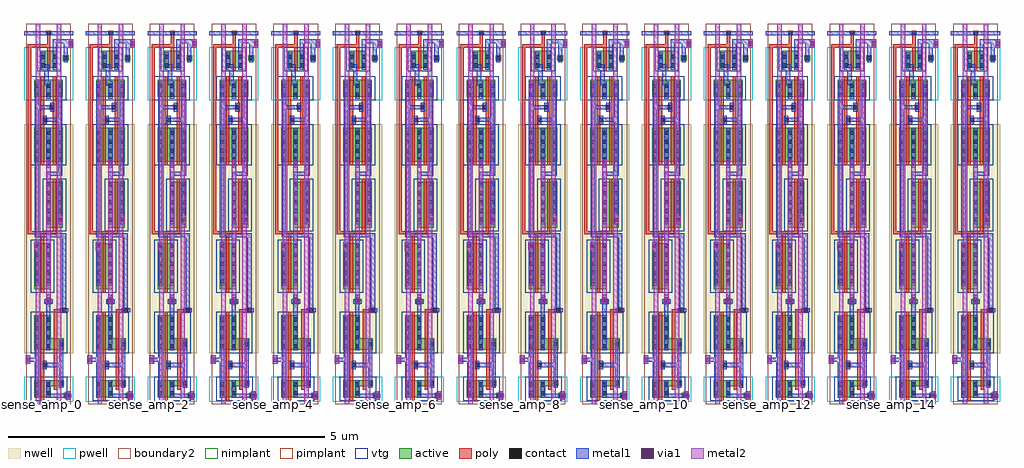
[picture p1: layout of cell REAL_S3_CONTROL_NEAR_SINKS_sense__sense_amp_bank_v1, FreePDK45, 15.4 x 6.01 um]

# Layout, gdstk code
import gdstk
lib = gdstk.Library(unit=1e-6, precision=1e-09)
def R(c, l, rs):  # rectangles x0, y0, x1, y1
    for r in rs: c.add(gdstk.rectangle(r[:2], r[2:], *l))
def A(c, l, x, y, w, h, nx, ny, dx, dy):  # array of equal rectangles
    R(c, l, [(x+i*dx, y+j*dy, x+i*dx+w, y+j*dy+h) for i in range(nx) for j in range(ny)])
def P(c, l, *ps):  # polygons
    for p in ps: c.add(gdstk.Polygon(p, *l))
active = (1, 0)
pwell = (2, 0)
nwell = (3, 0)
nimplant = (4, 0)
pimplant = (5, 0)
vtg = (6, 0)
poly = (9, 0)
contact = (10, 0)
metal1 = (11, 0)
via1 = (12, 0)
metal2 = (13, 0)
boundary2 = (239, 0)

real_s3_control_near_sin = lib.new_cell('REAL_S3_CONTROL_NEAR_SINKS_sense__sense_amp_unit__0__sense_amp')
R(real_s3_control_near_sin, active, [(0.595,0.095,0.685,0.185), (0.307,1.58,0.397,1.67), (0.127,1.82,0.387,2.54), (0.127,1.82,0.202,2.54), (0.127,1.82,0.202,2.54), (0.312,1.82,0.387,2.54), (0.312,1.82,0.387,2.54), (0.127,1.905,0.202,2.54), (0.312,1.905,0.387,2.54), (0.317,2.79,0.577,3.51), (0.317,2.79,0.392,3.51), (0.317,2.79,0.392,3.51), (0.502,2.79,0.577,3.51), (0.502,2.79,0.577,3.51), (0.317,2.875,0.392,3.51), (0.502,2.875,0.577,3.51), (0.127,3.827,0.202,4.322), (0.127,3.827,0.387,4.367), (0.127,3.827,0.202,4.367), (0.127,3.827,0.202,4.367), (0.312,3.827,0.387,4.322), (0.312,3.827,0.387,4.367), (0.312,3.827,0.387,4.367), (0.317,3.827,0.392,4.322), (0.317,3.827,0.577,4.367), (0.317,3.827,0.392,4.367), (0.317,3.827,0.392,4.367), (0.502,3.827,0.577,4.322), (0.502,3.827,0.577,4.367), (0.502,3.827,0.577,4.367), (0.127,4.852,0.202,5.067), (0.127,4.852,0.387,5.122), (0.127,4.852,0.202,5.122), (0.127,4.852,0.202,5.122), (0.312,4.852,0.387,5.067), (0.312,4.852,0.387,5.122), (0.312,4.852,0.387,5.122), (0.317,4.852,0.392,5.067), (0.317,4.852,0.577,5.122), (0.317,4.852,0.392,5.122), (0.317,4.852,0.392,5.122), (0.502,4.852,0.577,5.067), (0.502,4.852,0.577,5.122), (0.502,4.852,0.577,5.122), (0.227,5.31,0.302,5.525), (0.227,5.31,0.487,5.58), (0.227,5.31,0.302,5.58), (0.227,5.31,0.302,5.58), (0.412,5.31,0.487,5.525), (0.412,5.31,0.487,5.58), (0.412,5.31,0.487,5.58), (0.58,5.42,0.67,5.51)])
P(real_s3_control_near_sin, active, [(0.127,0.11),(0.127,0.38),(0.592,0.38),(0.592,0.29),(0.387,0.29),(0.387,0.11)],
  [(0.127,0.865),(0.127,1.405),(0.387,1.405),(0.387,1.045),(0.592,1.045),(0.592,0.865)])
R(real_s3_control_near_sin, pwell, [(-0.035,0.055,0.74,0.435), (-0.035,4.797,0.74,5.635), (0.072,4.797,0.442,5.177), (0.262,4.797,0.632,5.177), (0.172,5.255,0.542,5.635), (0.525,5.365,0.725,5.565)])
P(real_s3_control_near_sin, pwell, [(-0.035,0.04),(-0.035,0.055),(0.595,0.055),(0.595,0.095),(0.685,0.095),(0.685,0.055),(0.74,0.055),(0.74,0.04)])
R(real_s3_control_near_sin, nwell, [(-0.035,0.81,0.74,4.422), (0.072,1.765,0.442,2.595), (0.262,2.735,0.632,3.565), (0.072,3.772,0.442,4.422), (0.262,3.772,0.632,4.422)])
R(real_s3_control_near_sin, nimplant, [(0.307,1.58,0.397,1.67), (0.127,4.852,0.387,5.122), (0.317,4.852,0.577,5.122), (0.227,5.31,0.487,5.58)])
P(real_s3_control_near_sin, nimplant, [(0.127,0.11),(0.127,0.38),(0.592,0.38),(0.592,0.29),(0.387,0.29),(0.387,0.11)])
R(real_s3_control_near_sin, pimplant, [(0.595,0.095,0.685,0.185), (0.127,1.82,0.387,2.54), (0.317,2.79,0.577,3.51), (0.127,3.827,0.387,4.367), (0.317,3.827,0.577,4.367), (0.58,5.42,0.67,5.51)])
P(real_s3_control_near_sin, pimplant, [(0.127,0.865),(0.127,1.405),(0.387,1.405),(0.387,1.045),(0.592,1.045),(0.592,0.865)])
R(real_s3_control_near_sin, vtg, [(0.072,0.055,0.647,0.435), (0.072,0.81,0.645,1.46), (0.072,1.765,0.442,2.595), (0.262,2.735,0.632,3.565), (0.072,3.772,0.442,4.422), (0.262,3.772,0.632,4.422), (0.072,4.797,0.442,5.177), (0.262,4.797,0.632,5.177), (0.172,5.255,0.542,5.635)])
R(real_s3_control_near_sin, poly, [(0.232,0.055,0.282,1.46), (0.257,0.585,0.332,0.66), (0.232,1.765,0.282,1.82), (0.232,1.765,0.282,2.595), (0.232,2.54,0.282,2.595), (0.232,2.595,0.282,2.685), (0.027,2.685,0.472,2.735), (0.027,2.735,0.077,5.635), (0.422,2.735,0.472,2.79), (0.422,2.735,0.472,3.565), (0.422,3.51,0.472,3.565), (0.232,3.772,0.282,3.827), (0.232,3.772,0.282,4.422), (0.422,3.772,0.472,3.827), (0.422,3.772,0.472,4.422), (0.232,4.04,0.282,4.797), (0.422,4.04,0.472,4.797), (0.232,4.367,0.282,4.422), (0.422,4.367,0.472,4.422), (0.257,4.452,0.332,4.527), (0.372,4.652,0.447,4.727), (0.232,4.797,0.282,4.852), (0.232,4.797,0.282,5.177), (0.422,4.797,0.472,4.852), (0.422,4.797,0.472,5.177), (0.232,5.122,0.282,5.177), (0.422,5.122,0.472,5.177), (0.332,5.255,0.382,5.31), (0.332,5.255,0.382,5.635), (0.332,5.58,0.382,5.635), (0.027,5.635,0.382,5.685), (0.332,5.685,0.382,5.89), (0.32,5.822,0.395,5.897)])
P(real_s3_control_near_sin, poly, [(0.437,0.235),(0.437,1.505),(0.56,1.505),(0.56,1.525),(0.635,1.525),(0.635,1.45),(0.487,1.45),(0.487,0.235)])
A(real_s3_control_near_sin, contact, 0.132, 0.887, 0.065, 0.065, 1, 4, 0, 0.14)
A(real_s3_control_near_sin, contact, 0.317, 0.887, 0.065, 0.065, 1, 4, 0, 0.14)
A(real_s3_control_near_sin, contact, 0.132, 1.91, 0.065, 0.065, 1, 5, 0, 0.14)
A(real_s3_control_near_sin, contact, 0.317, 1.91, 0.065, 0.065, 1, 5, 0, 0.14)
A(real_s3_control_near_sin, contact, 0.322, 2.88, 0.065, 0.065, 1, 5, 0, 0.14)
A(real_s3_control_near_sin, contact, 0.507, 2.88, 0.065, 0.065, 1, 5, 0, 0.14)
A(real_s3_control_near_sin, contact, 0.132, 3.832, 0.065, 0.065, 1, 4, 0, 0.14)
A(real_s3_control_near_sin, contact, 0.322, 3.832, 0.065, 0.065, 1, 4, 0, 0.14)
A(real_s3_control_near_sin, contact, 0.507, 3.832, 0.065, 0.065, 1, 4, 0, 0.14)
R(real_s3_control_near_sin, contact, [(0.61,0.107,0.675,0.172), (0.132,0.142,0.197,0.207), (0.317,0.142,0.382,0.207), (0.132,0.282,0.197,0.347), (0.317,0.282,0.382,0.347), (0.522,0.3,0.587,0.365), (0.262,0.59,0.327,0.655), (0.522,0.92,0.587,0.985), (0.565,1.455,0.63,1.52), (0.32,1.592,0.385,1.657), (0.262,4.457,0.327,4.522), (0.377,4.657,0.442,4.722), (0.132,4.857,0.197,4.922), (0.322,4.857,0.387,4.922), (0.507,4.857,0.572,4.922), (0.132,4.997,0.197,5.062), (0.322,4.997,0.387,5.062), (0.507,4.997,0.572,5.062), (0.232,5.315,0.297,5.38), (0.417,5.315,0.482,5.38), (0.592,5.432,0.657,5.497), (0.232,5.455,0.297,5.52), (0.417,5.455,0.482,5.52), (0.325,5.827,0.39,5.892)])
R(real_s3_control_near_sin, metal1, [(0.132,0.107,0.197,1.407), (0.317,0.107,0.382,0.382), (0.382,0.107,0.567,0.172), (0.522,0.265,0.587,0.3), (0.262,0.555,0.327,0.69), (-0.002,0.64,0.062,0.775), (-0.007,0.67,0.067,0.745), (0.067,0.675,0.132,0.74), (0.317,0.852,0.382,0.887), (0.317,0.887,0.382,1.657), (0.522,0.985,0.587,1.02), (0.53,1.455,0.665,1.52), (0.565,1.455,0.63,2.7), (0.285,1.592,0.42,1.657), (0.32,1.592,0.385,1.727), (0.132,1.875,0.197,2.57), (0.317,1.875,0.382,2.57), (0.127,2.435,0.192,2.57), (0.32,2.502,0.385,2.7), (0.132,2.635,0.63,2.7), (0.132,2.7,0.197,3.797), (0.322,2.845,0.387,3.54), (0.507,2.845,0.572,3.54), (0.51,2.845,0.575,2.98), (0.322,3.475,0.387,3.67), (0.322,3.605,0.572,3.67), (0.507,3.605,0.572,3.8), (0.32,3.735,0.385,3.87), (0.132,3.797,0.197,4.352), (0.317,3.797,0.382,4.352), (0.322,3.797,0.387,4.352), (0.507,3.797,0.572,4.352), (0.132,3.96,0.197,4.827), (0.507,3.96,0.572,4.822), (0.262,4.422,0.327,4.557), (0.282,4.457,0.572,4.522), (0.377,4.622,0.442,4.757), (0.132,4.657,0.422,4.722), (0.132,4.822,0.197,5.097), (0.317,4.822,0.382,5.097), (0.322,4.822,0.387,5.097), (0.507,4.822,0.572,5.097), (0.282,5.04,0.352,5.367), (0.232,5.28,0.297,5.555), (0.417,5.28,0.482,5.555), (0.592,5.397,0.657,5.532), (0.592,5.532,0.657,5.762), (0.417,5.545,0.482,5.697), (0.657,5.627,0.672,5.697), (0.672,5.627,0.737,5.762), (0.417,5.697,0.74,5.762), (-0.035,5.827,0.74,5.892), (0.23,5.827,0.295,5.892), (0.29,5.827,0.425,5.892)])
P(real_s3_control_near_sin, metal1, [(0.522,0.3),(0.522,0.59),(0.262,0.59),(0.262,0.655),(0.522,0.655),(0.522,0.985),(0.587,0.985),(0.587,0.3)],
  [(0.632,0.072),(0.632,0.107),(0.567,0.107),(0.567,0.172),(0.632,0.172),(0.632,0.207),(0.697,0.207),(0.697,0.172),(0.71,0.172),(0.71,0.107),(0.697,0.107),(0.697,0.072)],
  [(0,1.452),(0,1.452),(0,1.452),(0,1.452)])
R(real_s3_control_near_sin, via1, [(0.632,0.107,0.697,0.172), (-0.002,0.675,0.062,0.74), (0.32,1.627,0.385,1.692), (0.127,2.47,0.192,2.535), (0.51,2.88,0.575,2.945), (0.32,3.77,0.385,3.835), (0.672,5.662,0.737,5.727)])
R(real_s3_control_near_sin, metal2, [(0.15,0,0.22,6.01), (0.485,0,0.555,6.01), (0.627,0.072,0.702,0.207), (0.627,0.102,0.702,0.177), (-0.01,0.64,0.067,0.775), (-0.007,0.67,0.067,0.745), (0.317,1.592,0.387,1.727), (0.317,1.725,0.387,3.735), (0.125,2.435,0.195,2.57), (0.507,2.845,0.577,2.98), (0.317,3.735,0.387,3.87), (0.67,5.627,0.74,5.762)])
R(real_s3_control_near_sin, boundary2, [(0,0,0.705,6.01)])
real_s3_control_near_sin.add(gdstk.Label('en', (0.258,5.86), layer=11, texttype=0))
real_s3_control_near_sin.add(gdstk.Label('dout', (0.028,0.692), layer=13, texttype=0))
real_s3_control_near_sin.add(gdstk.Label('gnd', (0.655,0.123), layer=13, texttype=0))
real_s3_control_near_sin.add(gdstk.Label('bl', (0.19,0.005), layer=13, texttype=0))
real_s3_control_near_sin.add(gdstk.Label('br', (0.52,0.006), layer=13, texttype=0))
real_s3_control_near_sin.add(gdstk.Label('vdd', (0.352,3.8), layer=13, texttype=0))
real_s3_control_near_sin.add(gdstk.Label('gnd', (0.702,5.735), layer=13, texttype=0))

c_real_s3_control_near_sin = lib.new_cell('REAL_S3_CONTROL_NEAR_SINKS_sense__sense_amp_bank_v1')
c_real_s3_control_near_sin.add(gdstk.Reference(real_s3_control_near_sin, (0.035,0)))
c_real_s3_control_near_sin.add(gdstk.Reference(real_s3_control_near_sin, (1.01,0)))
c_real_s3_control_near_sin.add(gdstk.Reference(real_s3_control_near_sin, (1.985,0)))
c_real_s3_control_near_sin.add(gdstk.Reference(real_s3_control_near_sin, (2.96,0)))
c_real_s3_control_near_sin.add(gdstk.Reference(real_s3_control_near_sin, (3.935,0)))
c_real_s3_control_near_sin.add(gdstk.Reference(real_s3_control_near_sin, (4.91,0)))
c_real_s3_control_near_sin.add(gdstk.Reference(real_s3_control_near_sin, (5.885,0)))
c_real_s3_control_near_sin.add(gdstk.Reference(real_s3_control_near_sin, (6.86,0)))
c_real_s3_control_near_sin.add(gdstk.Reference(real_s3_control_near_sin, (7.835,0)))
c_real_s3_control_near_sin.add(gdstk.Reference(real_s3_control_near_sin, (8.81,0)))
c_real_s3_control_near_sin.add(gdstk.Reference(real_s3_control_near_sin, (9.785,0)))
c_real_s3_control_near_sin.add(gdstk.Reference(real_s3_control_near_sin, (10.76,0)))
c_real_s3_control_near_sin.add(gdstk.Reference(real_s3_control_near_sin, (11.735,0)))
c_real_s3_control_near_sin.add(gdstk.Reference(real_s3_control_near_sin, (12.71,0)))
c_real_s3_control_near_sin.add(gdstk.Reference(real_s3_control_near_sin, (13.685,0)))
c_real_s3_control_near_sin.add(gdstk.Reference(real_s3_control_near_sin, (14.66,0)))
c_real_s3_control_near_sin.add(gdstk.Label('sense_amp_0', (0.035,0), layer=11, texttype=2))
c_real_s3_control_near_sin.add(gdstk.Label('sense_amp_1', (1.01,0), layer=11, texttype=2))
c_real_s3_control_near_sin.add(gdstk.Label('sense_amp_2', (1.985,0), layer=11, texttype=2))
c_real_s3_control_near_sin.add(gdstk.Label('sense_amp_3', (2.96,0), layer=11, texttype=2))
c_real_s3_control_near_sin.add(gdstk.Label('sense_amp_4', (3.935,0), layer=11, texttype=2))
c_real_s3_control_near_sin.add(gdstk.Label('sense_amp_5', (4.91,0), layer=11, texttype=2))
c_real_s3_control_near_sin.add(gdstk.Label('sense_amp_6', (5.885,0), layer=11, texttype=2))
c_real_s3_control_near_sin.add(gdstk.Label('sense_amp_7', (6.86,0), layer=11, texttype=2))
c_real_s3_control_near_sin.add(gdstk.Label('sense_amp_8', (7.835,0), layer=11, texttype=2))
c_real_s3_control_near_sin.add(gdstk.Label('sense_amp_9', (8.81,0), layer=11, texttype=2))
c_real_s3_control_near_sin.add(gdstk.Label('sense_amp_10', (9.785,0), layer=11, texttype=2))
c_real_s3_control_near_sin.add(gdstk.Label('sense_amp_11', (10.76,0), layer=11, texttype=2))
c_real_s3_control_near_sin.add(gdstk.Label('sense_amp_12', (11.735,0), layer=11, texttype=2))
c_real_s3_control_near_sin.add(gdstk.Label('sense_amp_13', (12.71,0), layer=11, texttype=2))
c_real_s3_control_near_sin.add(gdstk.Label('sense_amp_14', (13.685,0), layer=11, texttype=2))
c_real_s3_control_near_sin.add(gdstk.Label('sense_amp_15', (14.66,0), layer=11, texttype=2))

lib.write_gds('REAL_S3_CONTROL_NEAR_SINKS_sense__sense_amp_bank_v1.gds')
